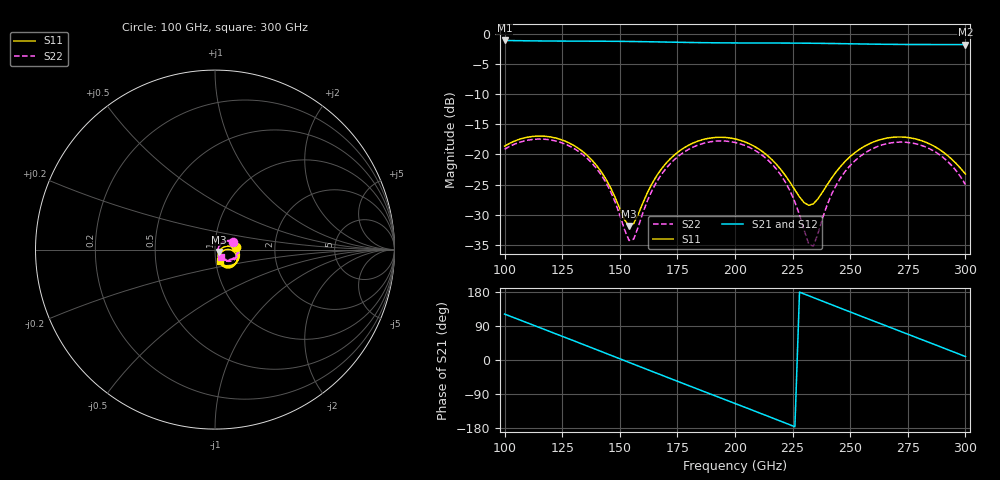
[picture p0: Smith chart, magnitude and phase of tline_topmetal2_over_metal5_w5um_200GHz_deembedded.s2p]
! Created with skrf 2.0.1 (http://scikit-rf.org).
# GHz S DB R 50.0
!freq dBS11 angS11 dBS21 angS21 dBS12 angS12 dBS22 angS22
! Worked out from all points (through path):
!   101 points, 100 GHz to 300 GHz, reference 50 ohm
!   highest |S21| = -1.15 dB at 100 GHz (marker M1); lowest = -1.8 dB at 300 GHz (marker M2)
!   group delay of S21, straight-line fit = 6.56 ps
!   lowest |S11| = -31.9 dB at 154 GHz (marker M3), VSWR 1.05, Z = 52.2 - j1.4 ohm
!   |S11| at or under -10 dB: start of sweep to end of sweep
!   |S22| runs from -35.2 to -17.5 dB; largest |S21 - S12| = 1e-13
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100  -18.65 8.1  -1.15 121.2  -1.15 121.2  -19.16 22.2
116  -16.98 -23.6  -1.23 83.7  -1.23 83.7  -17.48 -7.9
124  -17.50 -39.4  -1.25 64.9  -1.25 64.9  -17.99 -23.2
134  -19.57 -57.8  -1.26 41.3  -1.26 41.3  -20.06 -41.2
144  -24.12 -69.5  -1.28 17.5  -1.28 17.5  -24.69 -54.2
154  -31.87 -31.6  -1.32 -6.3  -1.32 -6.3  -34.26 -17.1
156  -31.46 -11.5  -1.33 -11.0  -1.33 -11.0  -34.05 9.6
162  -26.34 15.3  -1.36 -25.3  -1.36 -25.3  -27.66 41.8
168  -22.45 14.5  -1.40 -39.5  -1.40 -39.5  -23.37 40.2
184  -17.80 -10.5  -1.50 -77.2  -1.50 -77.2  -18.46 14.4
200  -17.44 -40.0  -1.56 -114.7  -1.56 -114.7  -18.04 -16.3
218  -21.66 -65.8  -1.58 -157.2  -1.58 -157.2  -22.46 -48.1
224  -24.69 -65.1  -1.59 -171.4  -1.59 -171.4  -26.14 -53.8
230  -28.00 -46.6  -1.60 174.3  -1.60 174.3  -32.53 -40.9
232  -28.44 -35.0  -1.61 169.6  -1.61 169.6  -34.87 -21.3
234  -28.20 -22.9  -1.62 164.8  -1.62 164.8  -35.21 8.0
242  -23.90 0.3  -1.65 145.8  -1.65 145.8  -26.55 46.7
248  -21.09 -1.1  -1.69 131.6  -1.69 131.6  -22.74 41.6
258  -18.31 -13.7  -1.75 108.0  -1.75 108.0  -19.40 25.0
268  -17.20 -30.0  -1.80 84.5  -1.80 84.5  -18.08 5.9
286  -18.57 -58.7  -1.83 42.3  -1.83 42.3  -19.39 -29.0
300  -23.25 -67.0  -1.84 9.1  -1.84 9.1  -25.02 -50.0
